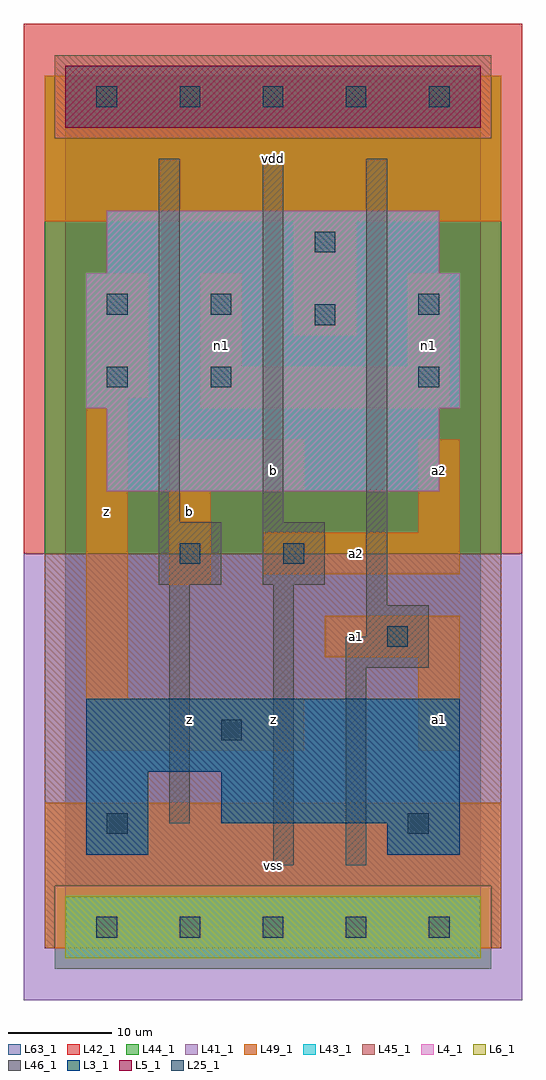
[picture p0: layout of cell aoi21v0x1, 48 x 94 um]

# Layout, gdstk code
import gdstk
lib = gdstk.Library(unit=1e-6, precision=1e-09)
def R(c, l, rs):  # rectangles x0, y0, x1, y1
    for r in rs: c.add(gdstk.rectangle(r[:2], r[2:], *l))
def A(c, l, x, y, w, h, nx, ny, dx, dy):  # array of equal rectangles
    R(c, l, [(x+i*dx, y+j*dy, x+i*dx+w, y+j*dy+h) for i in range(nx) for j in range(ny)])
L3_1 = (3, 1)
L4_1 = (4, 1)
L5_1 = (5, 1)
L6_1 = (6, 1)
L25_1 = (25, 1)
L41_1 = (41, 1)
L42_1 = (42, 1)
L43_1 = (43, 1)
L44_1 = (44, 1)
L45_1 = (45, 1)
L46_1 = (46, 1)
L49_1 = (49, 1)
L63_1 = (63, 1)

aoi21v0x1 = lib.new_cell('aoi21v0x1')
R(aoi21v0x1, L3_1, [(2,7,8,15), (31,7,38,10), (15,10,38,15), (2,15,38,22)])
R(aoi21v0x1, L4_1, [(4,42,36,50), (2,50,38,63), (4,63,36,69)])
R(aoi21v0x1, L5_1, [(0,77,40,83)])
R(aoi21v0x1, L6_1, [(0,-3,40,3), (0,-3,40,3)])
A(aoi21v0x1, L25_1, 3, -1, 2, 2, 5, 2, 8, 80)
R(aoi21v0x1, L25_1, [(4,9,6,11), (33,9,35,11), (15,18,17,20), (31,27,33,29), (11,35,13,37), (21,35,23,37), (4,52,6,54), (14,52,16,54), (34,52,36,54), (24,58,26,60), (4,59,6,61), (14,59,16,61), (34,59,36,61), (24,65,26,67)])
R(aoi21v0x1, L41_1, [(-4,-7,44,36)])
R(aoi21v0x1, L42_1, [(-4,36,44,87)])
R(aoi21v0x1, L43_1, [(0,-3,40,3), (2,7,8,15), (31,7,38,10), (15,10,38,15), (2,15,38,22), (4,42,36,50), (2,50,38,63), (4,63,36,69), (0,77,40,83)])
R(aoi21v0x1, L44_1, [(-1,-4,41,4), (-2,36,42,76), (-2,76,-1,82), (41,76,42,82)])
R(aoi21v0x1, L45_1, [(-2,-2,-1,4), (41,-2,42,4), (-2,4,42,36), (-1,76,41,84)])
R(aoi21v0x1, L46_1, [(20,6,22,33), (27,6,29,25), (10,10,12,33), (27,25,35,28), (29,28,35,31), (29,31,31,74), (9,33,15,39), (19,33,25,39), (9,39,11,74), (19,39,21,74)])
R(aoi21v0x1, L49_1, [(-2,-2,42,12), (2,17,23,22), (34,17,38,26), (2,22,6,51), (25,26,38,30), (10,33,14,42), (19,34,38,38), (34,38,38,47), (10,42,23,47), (13,50,37,54), (2,51,8,63), (13,54,17,63), (33,54,37,63), (22,57,28,68), (-2,68,42,82)])
R(aoi21v0x1, L63_1, [(0,0,40,80)])
aoi21v0x1.add(gdstk.Label('z', (4,40), layer=49, texttype=1))
aoi21v0x1.add(gdstk.Label('z', (12,20), layer=49, texttype=1))
aoi21v0x1.add(gdstk.Label('b', (12,40), layer=49, texttype=1))
aoi21v0x1.add(gdstk.Label('n1', (15,56), layer=49, texttype=1))
aoi21v0x1.add(gdstk.Label('vss', (20,6), layer=49, texttype=1))
aoi21v0x1.add(gdstk.Label('z', (20,20), layer=49, texttype=1))
aoi21v0x1.add(gdstk.Label('a2', (28,36), layer=49, texttype=1))
aoi21v0x1.add(gdstk.Label('a1', (28,28), layer=49, texttype=1))
aoi21v0x1.add(gdstk.Label('b', (20,44), layer=49, texttype=1))
aoi21v0x1.add(gdstk.Label('vdd', (20,74), layer=49, texttype=1))
aoi21v0x1.add(gdstk.Label('a1', (36,20), layer=49, texttype=1))
aoi21v0x1.add(gdstk.Label('a2', (36,44), layer=49, texttype=1))
aoi21v0x1.add(gdstk.Label('n1', (35,56), layer=49, texttype=1))

lib.write_gds('aoi21v0x1.gds')
